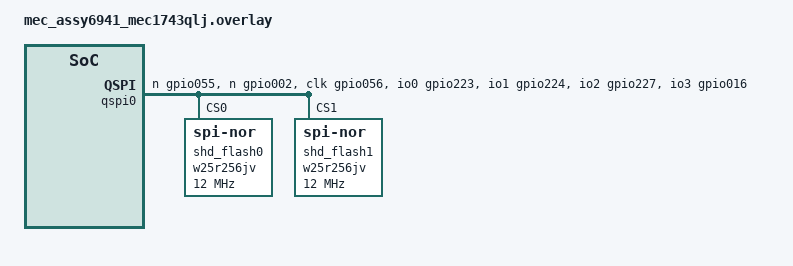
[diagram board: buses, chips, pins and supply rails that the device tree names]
/*
 * Copyright (c) 2023 Microchip Technology Inc.
 *
 * SPDX-License-Identifier: Apache-2.0
 */

/* mec_assy6941 EVB with MEC1743Q-LJ daughter card
 * MEC1743 does not have an internal SPI flash.
 */

#include "mec_common.dtsi"

&qspi0 {
	compatible = "microchip,mec5-qspi";
	status = "okay";
	pinctrl-0 = < &qspi_shd_cs0_n_gpio055
		      &qspi_shd_cs1_n_gpio002
		      &qspi_shd_clk_gpio056
		      &qspi_shd_io0_gpio223
		      &qspi_shd_io1_gpio224
		      &qspi_shd_io2_gpio227
		      &qspi_shd_io3_gpio016 >;
	pinctrl-names = "default";

	/* RPMC capable flash connected to chip select 0 */
	shd_flash0: w25r256jv@0 {
		compatible ="jedec,spi-nor";
		/* 32 Mbit Flash */
		size = <DT_SIZE_M(32)>;
		page-size = <256>;
		reg = <0>;
		spi-max-frequency = <DT_FREQ_M(12)>;
		has-dpd;
		t-enter-dpd = <3000>;
		t-exit-dpd = <3000>;
		status = "okay";
		jedec-id = [ef 40 19];
	};

	/* RPMC capable flash connected to chip select 1 */
	shd_flash1: w25r256jv@1 {
		compatible ="jedec,spi-nor";
		/* 32 Mbit Flash */
		size = <DT_SIZE_M(32)>;
		page-size = <256>;
		reg = <1>;
		spi-max-frequency = <DT_FREQ_M(12)>;
		has-dpd;
		t-enter-dpd = <3000>;
		t-exit-dpd = <3000>;
		status = "okay";
		jedec-id = [ef 40 19];
	};
};

&vw_slp_s3_n {
	reset-state = <1>;
};

&vw_slp_s4_n {
	reset-state = <1>;
};

&vw_slp_s5_n {
	reset-state = <1>;
};

&vw_sus_stat_n {
	reset-state = <1>;
};

&vw_pltrst_n {
	reset-state = <1>;
};

&vw_oob_rst_warn {
	reset-state = <1>;
};
